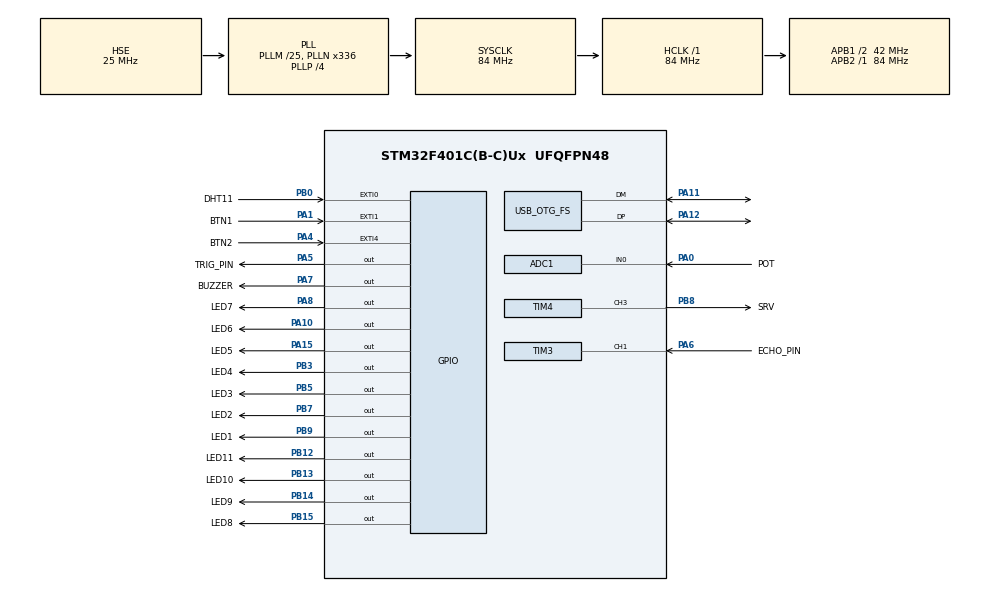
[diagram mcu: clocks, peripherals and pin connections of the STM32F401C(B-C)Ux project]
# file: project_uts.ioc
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ADC1.Channel-3\#ChannelRegularConversion=ADC_CHANNEL_0
ADC1.ContinuousConvMode=ENABLE
ADC1.DMAContinuousRequests=ENABLE
ADC1.NbrOfConversionFlag=1
ADC1.Rank-3\#ChannelRegularConversion=1
ADC1.SamplingTime-3\#ChannelRegularConversion=ADC_SAMPLETIME_84CYCLES
ADC1.master=1
Dma.ADC1.0.Direction=DMA_PERIPH_TO_MEMORY
Dma.ADC1.0.FIFOMode=DMA_FIFOMODE_DISABLE
Dma.ADC1.0.Instance=DMA2_Stream0
Dma.ADC1.0.MemDataAlignment=DMA_MDATAALIGN_WORD
Dma.ADC1.0.MemInc=DMA_MINC_ENABLE
Dma.ADC1.0.Mode=DMA_CIRCULAR
Dma.ADC1.0.PeriphDataAlignment=DMA_PDATAALIGN_WORD
Dma.ADC1.0.PeriphInc=DMA_PINC_DISABLE
Dma.ADC1.0.Priority=DMA_PRIORITY_LOW
Dma.Request0=ADC1
Mcu.Family=STM32F4
Mcu.Name=STM32F401C(B-C)Ux
Mcu.Package=UFQFPN48
NVIC.DMA2_Stream0_IRQn=true\:0\:0\:false\:false\:true\:false\:true\:true
NVIC.EXTI0_IRQn=true\:0\:0\:false\:false\:true\:true\:true\:true
NVIC.EXTI1_IRQn=true\:0\:0\:false\:false\:true\:true\:true\:true
NVIC.EXTI4_IRQn=true\:0\:0\:false\:false\:true\:true\:true\:true
NVIC.OTG_FS_IRQn=true\:0\:0\:false\:false\:true\:false\:true\:true
NVIC.PriorityGroup=NVIC_PRIORITYGROUP_4
NVIC.TIM3_IRQn=true\:0\:0\:false\:false\:true\:true\:true\:true
PA0-WKUP.GPIO_Label=POT
PA0-WKUP.Signal=ADCx_IN0
PA1.GPIO_Label=BTN1
PA1.GPIO_PuPd=GPIO_PULLUP
PA1.Signal=GPXTI1
PA10.GPIO_Label=LED6
PA10.Signal=GPIO_Output
PA11.Mode=Device_Only
PA11.Signal=USB_OTG_FS_DM
PA12.Mode=Device_Only
PA12.Signal=USB_OTG_FS_DP
PA15.GPIO_Label=LED5
PA15.Signal=GPIO_Output
PA4.GPIO_Label=BTN2
PA4.GPIO_PuPd=GPIO_PULLUP
PA4.Signal=GPXTI4
PA5.GPIO_Label=TRIG_PIN
PA5.Signal=GPIO_Output
PA6.GPIO_Label=ECHO_PIN
PA6.Signal=S_TIM3_CH1
PA7.GPIO_Label=BUZZER
PA7.Signal=GPIO_Output
PA8.GPIO_Label=LED7
PA8.Signal=GPIO_Output
PB0.GPIO_Label=DHT11
PB0.GPIO_ModeDefaultEXTI=GPIO_MODE_IT_RISING_FALLING
PB0.GPIO_PuPd=GPIO_PULLUP
PB0.Signal=GPXTI0
PB12.GPIO_Label=LED11
PB12.Signal=GPIO_Output
PB13.GPIO_Label=LED10
PB13.Signal=GPIO_Output
PB14.GPIO_Label=LED9
PB14.Signal=GPIO_Output
PB15.GPIO_Label=LED8
PB15.Signal=GPIO_Output
PB3.GPIO_Label=LED4
PB3.Signal=GPIO_Output
PB5.GPIO_Label=LED3
PB5.Signal=GPIO_Output
PB7.GPIO_Label=LED2
PB7.Signal=GPIO_Output
PB8.GPIO_Label=SRV
PB8.Signal=S_TIM4_CH3
PB9.GPIO_Label=LED1
PB9.Signal=GPIO_Output
PH0\ -\ OSC_IN.Mode=HSE-External-Oscillator
PH0\ -\ OSC_IN.Signal=RCC_OSC_IN
PH1\ -\ OSC_OUT.Mode=HSE-External-Oscillator
PH1\ -\ OSC_OUT.Signal=RCC_OSC_OUT
ProjectManager.HeapSize=0x600
ProjectManager.StackSize=0x600
ProjectManager.TargetToolchain=STM32CubeIDE
RCC.48MHZClocksFreq_Value=48000000
RCC.AHBFreq_Value=84000000
RCC.APB1CLKDivider=RCC_HCLK_DIV2
RCC.APB1Freq_Value=42000000
RCC.APB1TimFreq_Value=84000000
RCC.APB2Freq_Value=84000000
RCC.APB2TimFreq_Value=84000000
RCC.CortexFreq_Value=84000000
RCC.HCLKFreq_Value=84000000
RCC.HSE_VALUE=25000000
RCC.HSI_VALUE=16000000
RCC.LSE_VALUE=32768
RCC.PLLM=25
RCC.PLLN=336
RCC.PLLP=RCC_PLLP_DIV4
RCC.PLLQ=7
RCC.SYSCLKFreq_VALUE=84000000
RCC.SYSCLKSource=RCC_SYSCLKSOURCE_PLLCLK
RCC.VCOOutputFreq_Value=336000000
SH.ADCx_IN0.0=ADC1_IN0,IN0
SH.S_TIM3_CH1.0=TIM3_CH1,Input_Capture1_from_TI1
SH.S_TIM4_CH3.0=TIM4_CH3,PWM Generation3 CH3
TIM2.Period=65535
TIM2.Prescaler=83
TIM3.Channel-Input_Capture1_from_TI1=TIM_CHANNEL_1
TIM3.Prescaler=83
TIM4.Channel-PWM\ Generation3\ CH3=TIM_CHANNEL_3
TIM4.Period=19999
TIM4.Prescaler=83
USB_DEVICE.CLASS_NAME_FS=CDC
USB_DEVICE.VirtualMode=Cdc
USB_DEVICE.VirtualModeFS=Cdc_FS
USB_OTG_FS.VirtualMode=Device_Only
VP_TIM2_VS_ClockSourceINT.Mode=Internal
VP_USB_DEVICE_VS_USB_DEVICE_CDC_FS.Mode=CDC_FS
board=custom

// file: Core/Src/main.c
/* USER CODE BEGIN Header */
/**
  ******************************************************************************
  * @file           : main.c
  * @brief          : Main program body
  ******************************************************************************
  * @attention
  *
  * Copyright (c) 2026 STMicroelectronics.
  * All rights reserved.
  *
  * This software is licensed under terms that can be found in the LICENSE file
  * in the root directory of this software component.
  * If no LICENSE file comes with this software, it is provided AS-IS.
  *
  ******************************************************************************
  */
/* USER CODE END Header */
#include "main.h"
#include "usb_device.h"

/* USER CODE BEGIN Includes */
#include "usbd_cdc_if.h"
#include <stdio.h>
#include <string.h>
#include "rhythm_game.h"
#include "binary_game.h"
#include "dht.h"
/* USER CODE END Includes */

/* USER CODE BEGIN PD */
#define MY_LAST2         24
#define PARTNER_LAST2    19
#define SHIFT_DELAY_MS   300
#define COUNTER_DELAY_MS 100
#define ADC_POLL_MS      50
#define DEBOUNCE_MS      200
#define MODE_GAME        8
#define SIMULTANEOUS_MS  150
#define MODE_LOBBY       10
#define SERVO_POT_MS     20
/* USER CODE END PD */

ADC_HandleTypeDef hadc1;
DMA_HandleTypeDef hdma_adc1;

TIM_HandleTypeDef htim2;
TIM_HandleTypeDef htim3;
TIM_HandleTypeDef htim4;

/* USER CODE BEGIN PV */
volatile uint8_t current_mode = 1;
volatile uint8_t btn1_flag = 0;
volatile uint8_t btn2_flag = 0;
uint32_t btn1_last_tick = 0;
uint32_t btn2_last_tick = 0;

uint32_t servo_last_tick = 0;
uint8_t servo_step = 0;

uint8_t hcsr04_state = 0;
uint32_t hcsr04_last_tick = 0;
uint16_t hcsr04_trig_start = 0;
uint16_t hcsr04_ic_val1 = 0;
uint16_t hcsr04_ic_val2 = 0;
uint32_t distance_cm = 0;

uint8_t shift_pos = 0;

uint32_t counter_value = 0;
uint8_t counter_phase = 0;

volatile uint32_t adc_dma_val = 0;
volatile uint32_t led_count = 0;
uint8_t current_led_mask = 0;

uint8_t train_step = 0;
uint8_t binary_count = 0;
uint8_t mode6_step = 0;
uint8_t mode6_pattern = 0;

volatile uint8_t simultaneous_flag = 0;
volatile uint8_t game_lobby = 0;
volatile uint8_t game_start_pending = 0;
volatile uint8_t btn2_first_click_pending = 0;
volatile uint32_t btn2_first_click_tick = 0;

DHT_t dht11;
float dht11_temp = 0.0f;
float dht11_hum = 0.0f;
uint32_t dht11_last_tick = 0;
/* USER CODE END PV */

void SystemClock_Config(void);
static void MX_GPIO_Init(void);
static void MX_DMA_Init(void);
static void MX_ADC1_Init(void);
static void MX_TIM4_Init(void);
static void MX_TIM3_Init(void);
static void MX_TIM2_Init(void);

/* USER CODE BEGIN 0 */
#include <string.h>
#include <stdlib.h>

volatile uint8_t usb_cmd_ready = 0;
char usb_cmd_buffer[64];
volatile uint8_t web_force_led_mode = 0;

void Process_USB_Command(uint8_t* buf, uint32_t len) {
    static uint32_t idx = 0;
    for (uint32_t i = 0; i < len; i++) {
        if (buf[i] == '\n' || buf[i] == '\r') {
            usb_cmd_buffer[idx] = '\0';
            if (idx > 0) usb_cmd_ready = 1;
            idx = 0;
        } else {
            if (idx < sizeof(usb_cmd_buffer) - 1) {
                usb_cmd_buffer[idx++] = buf[i];
            }
        }
    }
}

void BinaryGame_UART_Transmit(const char *buf, uint16_t len) {
    CDC_Transmit_FS((uint8_t*)buf, len);
}

typedef struct { GPIO_TypeDef *port; uint16_t pin; } LED_t;
static const LED_t leds[8] = {
    {LED8_GPIO_Port, LED8_Pin}, {LED7_GPIO_Port, LED7_Pin},
    {LED6_GPIO_Port, LED6_Pin}, {LED5_GPIO_Port, LED5_Pin},
    {LED4_GPIO_Port, LED4_Pin}, {LED3_GPIO_Port, LED3_Pin},
    {LED2_GPIO_Port, LED2_Pin}, {LED1_GPIO_Port, LED1_Pin},
};

static void set_leds(uint8_t pattern) {
    if (web_force_led_mode == 1) pattern = 0x00;
    else if (web_force_led_mode == 2) pattern = 0xFF;

    current_led_mask = pattern;
    for (int i = 0; i < 8; i++) {
        HAL_GPIO_WritePin(leds[i].port, leds[i].pin,
                          ((pattern >> i) & 1u) ? GPIO_PIN_SET : GPIO_PIN_RESET);
    }
}

static void all_leds_on(void)  { set_leds(0xFF); }
static void all_leds_off(void) { set_leds(0x00); }

static void Process_USB_Command_Loop(void) {
    if (usb_cmd_ready) {
      usb_cmd_ready = 0;
      if (strncmp(usb_cmd_buffer, "MODE:", 5) == 0) {
        uint8_t m = atoi(&usb_cmd_buffer[5]);
        if (m >= 1 && m <= 9) {
          current_mode = m;
          shift_pos     = 0;
          counter_value = 0;
          counter_phase = 0;
          train_step    = 0;
          binary_count  = 0;
          mode6_step    = 0;
          mode6_pattern = 0;
          web_force_led_mode = 0;

          if (m == 8) {
            game_lobby = 1;
            game_start_pending = 1;
          } else if (m == 9) {
            game_lobby = 2;
            game_start_pending = 1;
          } else {
            game_lobby = 0;
            game_start_pending = 0;
          }
          all_leds_off();
        }
      } else if (strcmp(usb_cmd_buffer, "ISR") == 0) {
        web_force_led_mode = 0;
        btn2_flag = 1;
      } else if (strcmp(usb_cmd_buffer, "LED:FF") == 0) {
        web_force_led_mode = 2;
        all_leds_on();
      } else if (strcmp(usb_cmd_buffer, "LED:00") == 0) {
        web_force_led_mode = 1;
        all_leds_off();
      } else if (strcmp(usb_cmd_buffer, "RESET") == 0) {
        RhythmGame_Reset();
        BinaryGame_Reset();
      }
    }
}

static void Process_Servo_Control(uint32_t current_tick) {
    if (current_mode < 7) {
      if ((current_tick - servo_last_tick) >= 1000) {
        servo_last_tick = current_tick;
        switch (servo_step) {
          case 0: __HAL_TIM_SET_COMPARE(&htim4, TIM_CHANNEL_3, 500);  servo_step = 1; break;
          case 1: __HAL_TIM_SET_COMPARE(&htim4, TIM_CHANNEL_3, 1500); servo_step = 2; break;
          case 2: __HAL_TIM_SET_COMPARE(&htim4, TIM_CHANNEL_3, 2500); servo_step = 0; break;
        }
      }
    }
}

static void Process_HCSR04(uint32_t current_tick) {
    switch (hcsr04_state) {
      case 0:
        if ((current_tick - hcsr04_last_tick) >= 150) {
          hcsr04_last_tick = current_tick;
          HAL_GPIO_WritePin(GPIOA, TRIG_PIN_Pin, GPIO_PIN_SET);
          hcsr04_trig_start = __HAL_TIM_GET_COUNTER(&htim3);
          hcsr04_state = 1;
        }
        break;

      case 1:
        if ((uint16_t)(__HAL_TIM_GET_COUNTER(&htim3) - hcsr04_trig_start) >= 10) {
          HAL_GPIO_WritePin(GPIOA, TRIG_PIN_Pin, GPIO_PIN_RESET);
          __HAL_TIM_CLEAR_FLAG(&htim3, TIM_FLAG_CC1);
          __HAL_TIM_SET_CAPTUREPOLARITY(&htim3, TIM_CHANNEL_1, TIM_INPUTCHANNELPOLARITY_RISING);
          hcsr04_state = 2;
        }
        break;

      case 2:
        if (__HAL_TIM_GET_FLAG(&htim3, TIM_FLAG_CC1)) {
          hcsr04_ic_val1 = HAL_TIM_ReadCapturedValue(&htim3, TIM_CHANNEL_1);
          __HAL_TIM_CLEAR_FLAG(&htim3, TIM_FLAG_CC1);
          __HAL_TIM_SET_CAPTUREPOLARITY(&htim3, TIM_CHANNEL_1, TIM_INPUTCHANNELPOLARITY_FALLING);
          hcsr04_state = 3;
        }
        else if ((uint16_t)(__HAL_TIM_GET_COUNTER(&htim3) - hcsr04_trig_start) > 50000) {
          hcsr04_state = 0;
        }
        break;

      case 3:
        if (__HAL_TIM_GET_FLAG(&htim3, TIM_FLAG_CC1)) {
          hcsr04_ic_val2 = HAL_TIM_ReadCapturedValue(&htim3, TIM_CHANNEL_1);

          uint32_t diff = (hcsr04_ic_val2 > hcsr04_ic_val1) ?
                          (hcsr04_ic_val2 - hcsr04_ic_val1) :
                          (0xFFFF - hcsr04_ic_val1 + hcsr04_ic_val2);

          uint32_t raw_dist = diff / 58;
          if (raw_dist > 400) raw_dist = 400;

          static uint32_t f_dist = 0;
          if (f_dist == 0) f_dist = raw_dist;

          f_dist = ((f_dist * 9) + raw_dist) / 10;

          distance_cm = f_dist;
          hcsr04_state = 0;
        }
        else if ((uint16_t)(__HAL_TIM_GET_COUNTER(&htim3) - hcsr04_ic_val1) > 30000) {
          hcsr04_state = 0;
        }
        break;
    }
}

static void Process_Buttons(void) {
    if (simultaneous_flag) {
      simultaneous_flag = 0;
      if (current_mode >= 8) {
        current_mode       = 1;
        game_lobby         = 0;
        game_start_pending = 0;
        shift_pos     = 0;
        counter_value = 0;
        counter_phase = 0;
        train_step    = 0;
        binary_count  = 0;
        mode6_step    = 0;
        mode6_pattern = 0;
        web_force_led_mode = 0;
        RhythmGame_Reset();
        BinaryGame_Reset();
        all_leds_off();
      } else {
        current_mode = MODE_LOBBY;
        game_lobby   = 0;
        btn2_first_click_pending = 0;
        web_force_led_mode = 0;
        all_leds_off();
      }
    }

    if (btn2_flag && current_mode < 8) {
      btn2_flag = 0;
      uint8_t prev_force = web_force_led_mode;
      web_force_led_mode = 0;
      all_leds_on();
      HAL_Delay(5000);
      all_leds_off();
      web_force_led_mode = prev_force;
    }

    if (btn1_flag && current_mode < 8) {
      btn1_flag    = 0;
      current_mode = (current_mode % 7) + 1;
      shift_pos     = 0;
      counter_value = 0;
      counter_phase = 0;
      train_step    = 0;
      binary_count  = 0;
      mode6_step    = 0;
      mode6_pattern = 0;
      web_force_led_mode = 0;
      all_leds_off();
    }
}

static void Process_Lobby_Timeout(uint32_t current_tick) {
    if (current_mode == MODE_LOBBY && btn2_first_click_pending) {
      if (current_tick - btn2_first_click_tick > 400) {
        btn2_first_click_pending = 0;
        game_lobby = 2;
        all_leds_off();
        HAL_GPIO_WritePin(LED7_GPIO_Port, LED7_Pin, GPIO_PIN_SET);
        HAL_GPIO_WritePin(LED8_GPIO_Port, LED8_Pin, GPIO_PIN_SET);
      }
    }
}

static void Process_Game_Start(void) {
    if (game_start_pending) {
      game_start_pending = 0;
      uint8_t sel = game_lobby;
      current_mode = (sel == 1) ? 8 : 9;
      game_lobby = 0;
      all_leds_off();

      {
        char buffer[230];
        uint32_t c_score = (sel == 2) ? BinaryGame_GetScore() : rg.score;
        uint8_t c_lives  = (sel == 2) ? 0 : rg.lives;

        uint16_t len = snprintf(buffer, sizeof(buffer),
          "{\"mode\":%d,\"gameLobby\":%d,\"adc\":%lu,\"counter\":%lu,\"ledMask\":%d,\"dist\":%lu,\"temp\":%d,\"hum\":%d,\"score\":%lu,\"lives\":%d,\"binaryTarget\":%d,\"binaryRound\":%d,\"rhythmLevel\":%d}\r\n",
          current_mode, game_lobby, adc_dma_val, counter_value, current_led_mask, distance_cm,
          (int)dht11_temp, (int)dht11_hum, c_score, (int)c_lives, (int)BinaryGame_GetTarget(), (int)BinaryGame_GetRound(), (int)RhythmGame_GetLevel());
        CDC_Transmit_FS((uint8_t*)buffer, len);
      }

      HAL_GPIO_WritePin(LED11_GPIO_Port, LED11_Pin, GPIO_PIN_SET);
      HAL_GPIO_WritePin(BUZZER_GPIO_Port, BUZZER_Pin, GPIO_PIN_SET);
      HAL_Delay(300);
      HAL_GPIO_WritePin(BUZZER_GPIO_Port, BUZZER_Pin, GPIO_PIN_RESET);
      HAL_Delay(700);
      HAL_GPIO_WritePin(LED11_GPIO_Port, LED11_Pin, GPIO_PIN_RESET);

      HAL_GPIO_WritePin(LED10_GPIO_Port, LED10_Pin, GPIO_PIN_SET);
      HAL_GPIO_WritePin(BUZZER_GPIO_Port, BUZZER_Pin, GPIO_PIN_SET);
      HAL_Delay(300);
      HAL_GPIO_WritePin(BUZZER_GPIO_Port, BUZZER_Pin, GPIO_PIN_RESET);
      HAL_Delay(700);
      HAL_GPIO_WritePin(LED10_GPIO_Port, LED10_Pin, GPIO_PIN_RESET);

      HAL_GPIO_WritePin(LED9_GPIO_Port, LED9_Pin, GPIO_PIN_SET);
      HAL_GPIO_WritePin(BUZZER_GPIO_Port, BUZZER_Pin, GPIO_PIN_SET);
      HAL_Delay(300);
      HAL_GPIO_WritePin(BUZZER_GPIO_Port, BUZZER_Pin, GPIO_PIN_RESET);
      HAL_Delay(700);
      HAL_GPIO_WritePin(LED9_GPIO_Port, LED9_Pin, GPIO_PIN_RESET);

      all_leds_off();

      if (sel == 1) {
        RhythmGame_Init();
      } else {
        BinaryGame_Init();
      }
    }
}

static void Process_Modes(uint32_t current_tick) {
    static uint32_t mode_last_tick = 0;

    switch (current_mode)
    {
      case 1:
      {
        if (current_tick - mode_last_tick >= SHIFT_DELAY_MS) {
          mode_last_tick = current_tick;
          if (shift_pos < 8) set_leds((uint8_t)(1u << shift_pos));
          else set_leds(0x00);
          shift_pos = (shift_pos + 1) % 9;
        }
        break;
      }

      case 2:
      {
        if (current_tick - mode_last_tick >= COUNTER_DELAY_MS) {
          mode_last_tick = current_tick;
          all_leds_off();
          uint32_t target = (counter_phase == 0) ? MY_LAST2 : PARTNER_LAST2;
          counter_value++;
          if (counter_value > target) {
            counter_value = 0;
            counter_phase ^= 1u;
          }
        }
        break;
      }

      case 3:
      {
        if (current_tick - mode_last_tick >= ADC_POLL_MS) {
          mode_last_tick = current_tick;
          static uint32_t filtered_adc = 0;
          filtered_adc = (filtered_adc * 7 + adc_dma_val) / 8;
          uint32_t logical_adc = 4095 - filtered_adc;
          if (logical_adc <= 100) led_count = 0;
          else if (logical_adc >= 4000) led_count = 8;
          else {
            led_count = (logical_adc * 8u) / 4095u;
            if (led_count == 0) led_count = 1;
          }
          uint8_t pattern = (led_count == 0) ? 0x00 : (uint8_t)(0xFF00u >> led_count);
          set_leds(pattern);
        }
        break;
      }

      case 4:
      {
        uint32_t adc = adc_dma_val;
        uint32_t delay_ms = 50u + (adc * 450u / 4095u);
        if (current_tick - mode_last_tick >= delay_ms) {
          mode_last_tick = current_tick;
          static const uint8_t pat[14] = {
              0x00, 0x81, 0xC3, 0xE7, 0x7E, 0x3C, 0x18, 0x00,
              0x18, 0x3C, 0x7E, 0xE7, 0xC3, 0x81
          };
          set_leds(pat[train_step]);
          train_step = (train_step + 1u) % 14u;
        }
        break;
      }

      case 5:
      {
        uint32_t adc = adc_dma_val;
        uint32_t delay_ms = 50u + (adc * 450u / 4095u);
        if (current_tick - mode_last_tick >= delay_ms) {
          mode_last_tick = current_tick;
          set_leds(binary_count);
          binary_count++;
        }
        break;
      }

      case 6:
      {
        uint32_t adc = adc_dma_val;
        uint32_t delay_ms = 50u + (adc * 450u / 4095u);
        if (current_tick - mode_last_tick >= delay_ms) {
          mode_last_tick = current_tick;
          if (mode6_step == 0) mode6_pattern = (mode6_pattern >> 1) | 0x80u;
          else mode6_pattern = (mode6_pattern >> 1);
          set_leds(mode6_pattern);
          mode6_step = (mode6_step + 1) % 3;
        }
        break;
      }

      case 7:
      {
        if (current_tick - mode_last_tick >= SERVO_POT_MS) {
          mode_last_tick = current_tick;

          static uint32_t servo_adc_filtered = 0;
          servo_adc_filtered = (servo_adc_filtered * 7 + adc_dma_val) / 8;

          uint32_t pulse = 500u + (servo_adc_filtered * 2000u / 4095u);
          __HAL_TIM_SET_COMPARE(&htim4, TIM_CHANNEL_3, pulse);

          uint8_t led_bar = (uint8_t)(servo_adc_filtered * 8u / 4095u);
          uint8_t pattern = (led_bar == 0) ? 0x00u : (uint8_t)(0xFF00u >> led_bar);
          set_leds(pattern);
        }
        break;
      }

      case 8:
        if (rg_session_done) {
          rg_session_done = 0;
          current_mode = MODE_LOBBY;
          game_lobby   = 1;
          all_leds_off();
          HAL_GPIO_WritePin(LED8_GPIO_Port, LED8_Pin, GPIO_PIN_SET);
        } else {
          RhythmGame_Run();
        }
        break;

      case 9:
        if (bg_session_done) {
          bg_session_done = 0;
          current_mode = MODE_LOBBY;
          game_lobby   = 2;
          all_leds_off();
          HAL_GPIO_WritePin(LED7_GPIO_Port, LED7_Pin, GPIO_PIN_SET);
          HAL_GPIO_WritePin(LED8_GPIO_Port, LED8_Pin, GPIO_PIN_SET);
        } else {
          BinaryGame_Run();
        }
        break;

      case 10:
        break;

      default:
        current_mode = 1;
        break;
    }
}

static void Process_DHT11(uint32_t current_tick) {
    if ((current_tick - dht11_last_tick) >= 2000) {
      dht11_last_tick = current_tick;
      DHT_readData(&dht11, &dht11_temp, &dht11_hum);
    }
}

static void Process_USB_CDC_Transmit(uint32_t current_tick) {
    static uint32_t usb_last_tick = 0;
    if (current_tick - usb_last_tick >= 200) {
      usb_last_tick = current_tick;

      char buffer[220];

      uint32_t current_score = (current_mode == 9 || game_lobby == 2) ? BinaryGame_GetScore() : rg.score;
      uint8_t current_lives  = (current_mode == 9 || game_lobby == 2) ? 0 : rg.lives;

      uint16_t len = snprintf(buffer, sizeof(buffer),
        "{\"mode\":%d,\"gameLobby\":%d,\"adc\":%lu,\"counter\":%lu,\"ledMask\":%d,\"dist\":%lu,\"temp\":%d,\"hum\":%d,\"score\":%lu,\"lives\":%d,\"binaryTarget\":%d,\"binaryRound\":%d,\"rhythmLevel\":%d}\r\n",
        current_mode,
        game_lobby,
        adc_dma_val,
        counter_value,
        current_led_mask,
        distance_cm,
        (int)dht11_temp,
        (int)dht11_hum,
        current_score,
        (int)current_lives,
        (int)BinaryGame_GetTarget(),
        (int)BinaryGame_GetRound(),
        (int)RhythmGame_GetLevel());

      CDC_Transmit_FS((uint8_t*)buffer, len);
    }
}

/* USER CODE END 0 */

int main(void)
{

  /* MCU Configuration--------------------------------------------------------*/

  /* Reset of all peripherals, Initializes the Flash interface and the Systick. */
  HAL_Init();

  /* Configure the system clock */
  SystemClock_Config();

  /* Initialize all configured peripherals */
  MX_GPIO_Init();
  MX_DMA_Init();
  MX_ADC1_Init();
  GPIO_InitTypeDef GPIO_InitStruct = {0};
  __HAL_RCC_GPIOA_CLK_ENABLE();
  GPIO_InitStruct.Pin = GPIO_PIN_12;
  GPIO_InitStruct.Mode = GPIO_MODE_OUTPUT_PP;
  GPIO_InitStruct.Pull = GPIO_NOPULL;
  GPIO_InitStruct.Speed = GPIO_SPEED_FREQ_LOW;
  HAL_GPIO_Init(GPIOA, &GPIO_InitStruct);
  HAL_GPIO_WritePin(GPIOA, GPIO_PIN_12, GPIO_PIN_RESET);
  HAL_Delay(100); // Beri jeda 100ms agar Windows sadar USB dicabut
  MX_USB_DEVICE_Init();
  MX_TIM4_Init();
  MX_TIM3_Init();
  MX_TIM2_Init();
  /* USER CODE BEGIN 2 */
  HAL_ADC_Start_DMA(&hadc1, (uint32_t*)&adc_dma_val, 1);

  __HAL_RCC_GPIOB_CLK_ENABLE();
  GPIO_InitStruct.Pin = GPIO_PIN_8;
  GPIO_InitStruct.Mode = GPIO_MODE_AF_PP;
  GPIO_InitStruct.Pull = GPIO_NOPULL;
  GPIO_InitStruct.Speed = GPIO_SPEED_FREQ_LOW;
  GPIO_InitStruct.Alternate = GPIO_AF2_TIM4;
  HAL_GPIO_Init(GPIOB, &GPIO_InitStruct);

  __HAL_RCC_GPIOA_CLK_ENABLE();
  GPIO_InitTypeDef GPIO_InitStructEcho = {0};
  GPIO_InitStructEcho.Pin = GPIO_PIN_6;
  GPIO_InitStructEcho.Mode = GPIO_MODE_AF_PP;
  GPIO_InitStructEcho.Pull = GPIO_NOPULL;
  GPIO_InitStructEcho.Speed = GPIO_SPEED_FREQ_LOW;
  GPIO_InitStructEcho.Alternate = GPIO_AF2_TIM3;
  HAL_GPIO_Init(GPIOA, &GPIO_InitStructEcho);

  HAL_TIM_PWM_Start(&htim4, TIM_CHANNEL_3);

  HAL_TIM_Base_Start(&htim3);
  HAL_TIM_IC_Start(&htim3, TIM_CHANNEL_1);

  HAL_TIM_Base_Start(&htim2);
  DHT_init(&dht11, DHT_Type_DHT11, &htim2, 84, DHT11_GPIO_Port, DHT11_Pin);
  /* USER CODE END 2 */

  /* Infinite loop */
  while (1)
  {

    /* USER CODE BEGIN 3 */

    uint32_t current_tick = HAL_GetTick();

    Process_USB_Command_Loop();
    Process_Servo_Control(current_tick);
    Process_HCSR04(current_tick);
    Process_Buttons();
    Process_Lobby_Timeout(current_tick);
    Process_Game_Start();
    Process_Modes(current_tick);
    Process_DHT11(current_tick);
    Process_USB_CDC_Transmit(current_tick);

  }
  /* USER CODE END 3 */
}

void SystemClock_Config(void)
{
  RCC_OscInitTypeDef RCC_OscInitStruct = {0};
  RCC_ClkInitTypeDef RCC_ClkInitStruct = {0};

  /** Configure the main internal regulator output voltage
  */
  __HAL_RCC_PWR_CLK_ENABLE();
  __HAL_PWR_VOLTAGESCALING_CONFIG(PWR_REGULATOR_VOLTAGE_SCALE2);

  /** Initializes the RCC Oscillators according to the specified parameters
  * in the RCC_OscInitTypeDef structure.
  */
  RCC_OscInitStruct.OscillatorType = RCC_OSCILLATORTYPE_HSE;
  RCC_OscInitStruct.HSEState = RCC_HSE_ON;
  RCC_OscInitStruct.PLL.PLLState = RCC_PLL_ON;
  RCC_OscInitStruct.PLL.PLLSource = RCC_PLLSOURCE_HSE;
  RCC_OscInitStruct.PLL.PLLM = 25;
  RCC_OscInitStruct.PLL.PLLN = 336;
  RCC_OscInitStruct.PLL.PLLP = RCC_PLLP_DIV4;
  RCC_OscInitStruct.PLL.PLLQ = 7;
  if (HAL_RCC_OscConfig(&RCC_OscInitStruct) != HAL_OK)
  {
    Error_Handler();
  }

  /** Initializes the CPU, AHB and APB buses clocks
  */
  RCC_ClkInitStruct.ClockType = RCC_CLOCKTYPE_HCLK|RCC_CLOCKTYPE_SYSCLK
                              |RCC_CLOCKTYPE_PCLK1|RCC_CLOCKTYPE_PCLK2;
  RCC_ClkInitStruct.SYSCLKSource = RCC_SYSCLKSOURCE_PLLCLK;
  RCC_ClkInitStruct.AHBCLKDivider = RCC_SYSCLK_DIV1;
  RCC_ClkInitStruct.APB1CLKDivider = RCC_HCLK_DIV2;
  RCC_ClkInitStruct.APB2CLKDivider = RCC_HCLK_DIV1;

  if (HAL_RCC_ClockConfig(&RCC_ClkInitStruct, FLASH_LATENCY_2) != HAL_OK)
  {
    Error_Handler();
  }
}

static void MX_ADC1_Init(void)
{

  ADC_ChannelConfTypeDef sConfig = {0};

  /** Configure the global features of the ADC (Clock, Resolution, Data Alignment and number of conversion)
  */
  hadc1.Instance = ADC1;
  hadc1.Init.ClockPrescaler = ADC_CLOCK_SYNC_PCLK_DIV4;
  hadc1.Init.Resolution = ADC_RESOLUTION_12B;
  hadc1.Init.ScanConvMode = DISABLE;
  hadc1.Init.ContinuousConvMode = ENABLE;
  hadc1.Init.DiscontinuousConvMode = DISABLE;
  hadc1.Init.ExternalTrigConvEdge = ADC_EXTERNALTRIGCONVEDGE_NONE;
  hadc1.Init.ExternalTrigConv = ADC_SOFTWARE_START;
  hadc1.Init.DataAlign = ADC_DATAALIGN_RIGHT;
  hadc1.Init.NbrOfConversion = 1;
  hadc1.Init.DMAContinuousRequests = ENABLE;
  hadc1.Init.EOCSelection = ADC_EOC_SINGLE_CONV;
  if (HAL_ADC_Init(&hadc1) != HAL_OK)
  {
    Error_Handler();
  }

  /** Configure for the selected ADC regular channel its corresponding rank in the sequencer and its sample time.
  */
  sConfig.Channel = ADC_CHANNEL_0;
  sConfig.Rank = 1;
  sConfig.SamplingTime = ADC_SAMPLETIME_84CYCLES;
  if (HAL_ADC_ConfigChannel(&hadc1, &sConfig) != HAL_OK)
  {
    Error_Handler();
  }

}

static void MX_TIM2_Init(void)
{

  TIM_ClockConfigTypeDef sClockSourceConfig = {0};
  TIM_MasterConfigTypeDef sMasterConfig = {0};

  htim2.Instance = TIM2;
  htim2.Init.Prescaler = 83;
  htim2.Init.CounterMode = TIM_COUNTERMODE_UP;
  htim2.Init.Period = 65535;
  htim2.Init.ClockDivision = TIM_CLOCKDIVISION_DIV1;
  htim2.Init.AutoReloadPreload = TIM_AUTORELOAD_PRELOAD_DISABLE;
  if (HAL_TIM_Base_Init(&htim2) != HAL_OK)
  {
    Error_Handler();
  }
  sClockSourceConfig.ClockSource = TIM_CLOCKSOURCE_INTERNAL;
  if (HAL_TIM_ConfigClockSource(&htim2, &sClockSourceConfig) != HAL_OK)
  {
    Error_Handler();
  }
  sMasterConfig.MasterOutputTrigger = TIM_TRGO_RESET;
  sMasterConfig.MasterSlaveMode = TIM_MASTERSLAVEMODE_DISABLE;
  if (HAL_TIMEx_MasterConfigSynchronization(&htim2, &sMasterConfig) != HAL_OK)
  {
    Error_Handler();
  }

}

static void MX_TIM3_Init(void)
{

  TIM_MasterConfigTypeDef sMasterConfig = {0};
  TIM_IC_InitTypeDef sConfigIC = {0};

  htim3.Instance = TIM3;
  htim3.Init.Prescaler = 83;
  htim3.Init.CounterMode = TIM_COUNTERMODE_UP;
  htim3.Init.Period = 65535;
  htim3.Init.ClockDivision = TIM_CLOCKDIVISION_DIV1;
  htim3.Init.AutoReloadPreload = TIM_AUTORELOAD_PRELOAD_DISABLE;
  if (HAL_TIM_IC_Init(&htim3) != HAL_OK)
  {
    Error_Handler();
  }
  sMasterConfig.MasterOutputTrigger = TIM_TRGO_RESET;
  sMasterConfig.MasterSlaveMode = TIM_MASTERSLAVEMODE_DISABLE;
  if (HAL_TIMEx_MasterConfigSynchronization(&htim3, &sMasterConfig) != HAL_OK)
  {
    Error_Handler();
  }
  sConfigIC.ICPolarity = TIM_INPUTCHANNELPOLARITY_RISING;
  sConfigIC.ICSelection = TIM_ICSELECTION_DIRECTTI;
  sConfigIC.ICPrescaler = TIM_ICPSC_DIV1;
  sConfigIC.ICFilter = 0;
  if (HAL_TIM_IC_ConfigChannel(&htim3, &sConfigIC, TIM_CHANNEL_1) != HAL_OK)
  {
    Error_Handler();
  }

}

static void MX_TIM4_Init(void)
{

  TIM_MasterConfigTypeDef sMasterConfig = {0};
  TIM_OC_InitTypeDef sConfigOC = {0};

  htim4.Instance = TIM4;
  htim4.Init.Prescaler = 83;
  htim4.Init.CounterMode = TIM_COUNTERMODE_UP;
  htim4.Init.Period = 19999;
  htim4.Init.ClockDivision = TIM_CLOCKDIVISION_DIV1;
  htim4.Init.AutoReloadPreload = TIM_AUTORELOAD_PRELOAD_DISABLE;
  if (HAL_TIM_PWM_Init(&htim4) != HAL_OK)
  {
    Error_Handler();
  }
  sMasterConfig.MasterOutputTrigger = TIM_TRGO_RESET;
  sMasterConfig.MasterSlaveMode = TIM_MASTERSLAVEMODE_DISABLE;
  if (HAL_TIMEx_MasterConfigSynchronization(&htim4, &sMasterConfig) != HAL_OK)
  {
    Error_Handler();
  }
  sConfigOC.OCMode = TIM_OCMODE_PWM1;
  sConfigOC.Pulse = 0;
  sConfigOC.OCPolarity = TIM_OCPOLARITY_HIGH;
  sConfigOC.OCFastMode = TIM_OCFAST_DISABLE;
  if (HAL_TIM_PWM_ConfigChannel(&htim4, &sConfigOC, TIM_CHANNEL_3) != HAL_OK)
  {
    Error_Handler();
  }
  HAL_TIM_MspPostInit(&htim4);

}

static void MX_DMA_Init(void)
{

  /* DMA controller clock enable */
  __HAL_RCC_DMA2_CLK_ENABLE();

  /* DMA interrupt init */
  /* DMA2_Stream0_IRQn interrupt configuration */
  HAL_NVIC_SetPriority(DMA2_Stream0_IRQn, 0, 0);
  HAL_NVIC_EnableIRQ(DMA2_Stream0_IRQn);

}

static void MX_GPIO_Init(void)
{
  GPIO_InitTypeDef GPIO_InitStruct = {0};

  /* GPIO Ports Clock Enable */
  __HAL_RCC_GPIOH_CLK_ENABLE();
  __HAL_RCC_GPIOA_CLK_ENABLE();
  __HAL_RCC_GPIOB_CLK_ENABLE();

  /*Configure GPIO pin Output Level */
  HAL_GPIO_WritePin(GPIOA, TRIG_PIN_Pin|BUZZER_Pin|LED7_Pin|LED6_Pin
                          |LED5_Pin, GPIO_PIN_RESET);

  /*Configure GPIO pin Output Level */
  HAL_GPIO_WritePin(GPIOB, LED11_Pin|LED10_Pin|LED9_Pin|LED8_Pin
                          |LED4_Pin|LED3_Pin|LED2_Pin|LED1_Pin, GPIO_PIN_RESET);

  /*Configure GPIO pins : BTN1_Pin BTN2_Pin */
  GPIO_InitStruct.Pin = BTN1_Pin|BTN2_Pin;
  GPIO_InitStruct.Mode = GPIO_MODE_IT_RISING;
  GPIO_InitStruct.Pull = GPIO_PULLUP;
  HAL_GPIO_Init(GPIOA, &GPIO_InitStruct);

  /*Configure GPIO pins : TRIG_PIN_Pin BUZZER_Pin LED7_Pin LED6_Pin
                           LED5_Pin */
  GPIO_InitStruct.Pin = TRIG_PIN_Pin|BUZZER_Pin|LED7_Pin|LED6_Pin
                          |LED5_Pin;
  GPIO_InitStruct.Mode = GPIO_MODE_OUTPUT_PP;
  GPIO_InitStruct.Pull = GPIO_NOPULL;
  GPIO_InitStruct.Speed = GPIO_SPEED_FREQ_LOW;
  HAL_GPIO_Init(GPIOA, &GPIO_InitStruct);

  /*Configure GPIO pin : DHT11_Pin */
  GPIO_InitStruct.Pin = DHT11_Pin;
  GPIO_InitStruct.Mode = GPIO_MODE_IT_RISING_FALLING;
  GPIO_InitStruct.Pull = GPIO_PULLUP;
  HAL_GPIO_Init(DHT11_GPIO_Port, &GPIO_InitStruct);

  /*Configure GPIO pins : LED11_Pin LED10_Pin LED9_Pin LED8_Pin
                           LED4_Pin LED3_Pin LED2_Pin LED1_Pin */
  GPIO_InitStruct.Pin = LED11_Pin|LED10_Pin|LED9_Pin|LED8_Pin
                          |LED4_Pin|LED3_Pin|LED2_Pin|LED1_Pin;
  GPIO_InitStruct.Mode = GPIO_MODE_OUTPUT_PP;
  GPIO_InitStruct.Pull = GPIO_NOPULL;
  GPIO_InitStruct.Speed = GPIO_SPEED_FREQ_LOW;
  HAL_GPIO_Init(GPIOB, &GPIO_InitStruct);

  /* EXTI interrupt init*/
  HAL_NVIC_SetPriority(EXTI0_IRQn, 0, 0);
  HAL_NVIC_EnableIRQ(EXTI0_IRQn);

  HAL_NVIC_SetPriority(EXTI1_IRQn, 0, 0);
  HAL_NVIC_EnableIRQ(EXTI1_IRQn);

  HAL_NVIC_SetPriority(EXTI4_IRQn, 0, 0);
  HAL_NVIC_EnableIRQ(EXTI4_IRQn);

}

/* USER CODE BEGIN 4 */

/**
 * Callback EXTI (dipanggil oleh HAL_GPIO_EXTI_IRQHandler di stm32f4xx_it.c).
 *
 * Logika tekan bersamaan (simultaneous):
 *   Jika BTN1 ditekan dan BTN2 sudah ditekan dalam SIMULTANEOUS_MS ms terakhir
 *   (atau sebaliknya), set simultaneous_flag dan batalkan flag tombol tunggal.
 *   Ini memungkinkan toggle Mode Game tanpa salah terpicu sebagai mode-change.
 *
 * Di Mode Lobby (current_mode == MODE_LOBBY):
 *   BTN1          → pilih Rhythm Tap  (LED8 menyala)
 *   BTN2 (slow)   → pilih Tebak Biner (LED7+LED8 menyala), hanya jika belum ada pilihan
 *   BTN2×2 (<400ms) → mulai game yang dipilih (game_start_pending = 1)
 *
 * Di Mode Game (current_mode == 8 / Rhythm):
 *   BTN1 → RhythmGame_BTN1_Tap()   (rekam timestamp ketukan)
 *   BTN2 → RhythmGame_BTN2_Press() (set flag ulang demo / hint)
 *
 * Di Mode Game (current_mode == 9 / Binary):
 *   BTN1 → BinaryGame_BTN1_Press() (input bit '1')
 *   BTN2 → BinaryGame_BTN2_Press() (input bit '0')
 */
void HAL_GPIO_EXTI_Callback(uint16_t GPIO_Pin)
{
  uint32_t now = HAL_GetTick();

  if(GPIO_Pin == DHT11_Pin){
	  DHT_pinChangeCallBack(&dht11);
  }

  if (GPIO_Pin == BTN1_Pin) {
    if ((now - btn1_last_tick) > DEBOUNCE_MS) {
      btn1_last_tick = now;

      if ((now - btn2_last_tick) < SIMULTANEOUS_MS) {
        /* BTN2 baru saja ditekan → tekan bersamaan */
        btn2_flag = 0;
        simultaneous_flag = 1;
      } else if (current_mode == MODE_LOBBY) {
        /* Single click: pilih Rhythm Tap → LED8 menyala */
        game_lobby = 1;
        btn2_first_click_pending = 0;
        all_leds_off();
        HAL_GPIO_WritePin(LED8_GPIO_Port, LED8_Pin, GPIO_PIN_SET);
      } else if (current_mode == 8 && !rg_session_done) {
        RhythmGame_BTN1_Tap();
      } else if (current_mode == 9 && !bg_session_done) {
        BinaryGame_BTN1_Press();
      } else {
        btn1_flag = 1;
      }
    }
  }

  if (GPIO_Pin == BTN2_Pin) {
    if ((now - btn2_last_tick) > DEBOUNCE_MS) {
      uint32_t diff = now - btn2_last_tick;
      btn2_last_tick = now;

      if ((now - btn1_last_tick) < SIMULTANEOUS_MS) {
        /* BTN1 baru saja ditekan → tekan bersamaan */
        btn1_flag = 0;
        simultaneous_flag = 1;
      } else if (current_mode == MODE_LOBBY) {
        if (diff < 400 && btn2_first_click_pending) {
          /* Double click: mulai game yang dipilih (jika sudah ada pilihan) */
          btn2_first_click_pending = 0;
          if (game_lobby != 0) {
            game_start_pending = 1;
          }
        } else {
          /* Single click: tahan dulu (defer) selama 400ms */
          btn2_first_click_pending = 1;
          btn2_first_click_tick = now;
        }
      } else if (current_mode == 8 && !rg_session_done) {
        RhythmGame_BTN2_Press();
      } else if (current_mode == 9 && !bg_session_done) {
        BinaryGame_BTN2_Press();
      } else {
        btn2_flag = 1;
      }
    }
  }
}

/* USER CODE END 4 */

void Error_Handler(void)
{
  __disable_irq();
  while (1)
  {
  }
}
